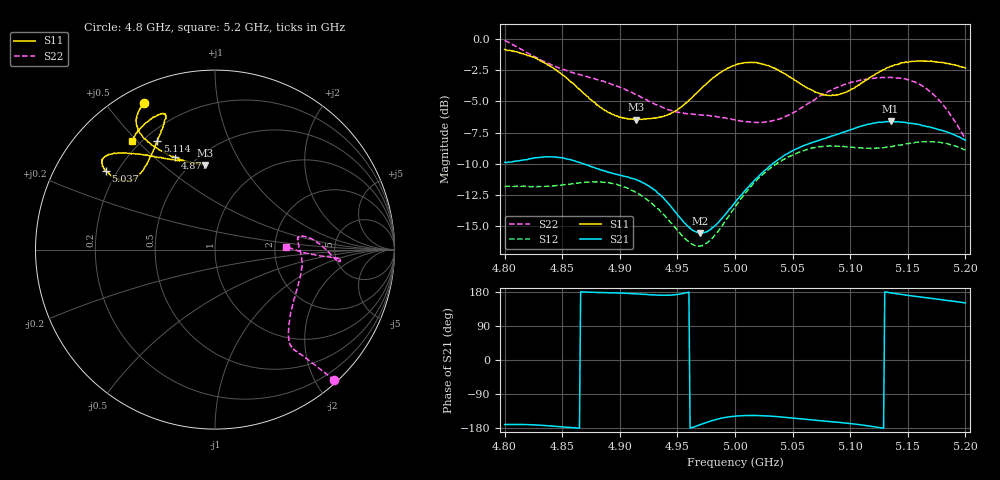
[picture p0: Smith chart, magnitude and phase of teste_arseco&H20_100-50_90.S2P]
! Network Analyzer HP8722D
! Hewlett-Packard
! Data name: Linha & Wilkinson
! Saver's name: Rodrigo Anjos
! Comments: Teste da utilização de aquisição
! continua pelo VNA HP8722D
! Time and date: 6/5/2025 13:19
!  Frequency  S11  S21  S12  S22
# HZ  S  MA R 50
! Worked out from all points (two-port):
!   401 points, 4.8 GHz to 5.2 GHz, reference 50 ohm
!   highest |S21| = -6.60 dB at 5.135 GHz (marker M1); lowest = -15.5 dB at 4.97 GHz (marker M2)
!   |S21| within 3 dB of the highest: 4.822 GHz to 4.853 GHz (31.15 MHz wide, 0.644 % of centre); 5.039 GHz to end of sweep
!   lowest |S11| = -6.5 dB at 4.914 GHz (marker M3), VSWR 2.81, Z = 29 + j35.4 ohm
!   |S11| at or under -10 dB: nowhere
!   |S22| runs from -8.0 to -0.1 dB; largest |S21 - S12| = 0.83
!   S11 on the Smith chart (normalised r, x): 4.8 GHz: 0.07, +0.63; 4.877 GHz: 0.39, +0.58; 5.037 GHz: 0.16, +0.32; 5.114 GHz: 0.25, +0.57; 5.2 GHz: 0.17, +0.48
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4.8e9  0.9064 115.8  0.3204 -170.5  0.2566 -86.2  0.9848 -47.5
4.834e9  0.804 122.4  0.3366 -172.7  0.2561 -77.0  0.8126 -49.7
4.847e9  0.7374 122.6  0.3352 -175.6  0.2594 -72.7  0.7652 -50.5
4.867e9  0.6149 117.8  0.3177 179.8  0.266 -67.4  0.7152 -51.6
4.877e9  0.5606 113.6  0.3064 178.6  0.2679 -66.3  0.6948 -51.8
4.897e9  0.4919 102.7  0.2868 176.9  0.262 -66.4  0.6482 -50.6
4.914e9  0.4753 96.6  0.2736 174.6  0.2426 -68.2  0.5993 -46.8
4.934e9  0.485 99.2  0.2393 171.1  0.2073 -69.4  0.5385 -37.5
4.95e9  0.5195 109.5  0.1979 173.0  0.1709 -65.6  0.5094 -27.1
4.97e9  0.6268 124.1  0.167 -170.4  0.1485 -46.6  0.4963 -14.5
4.983e9  0.7077 131.1  0.1791 -157.3  0.1648 -32.1  0.4897 -7.7
5e9  0.7847 137.3  0.2211 -148.4  0.2127 -21.5  0.4734 -0.3
5.019e9  0.8039 141.7  0.2774 -146.7  0.2718 -18.4  0.4615 5.8
5.037e9  0.7509 144.1  0.327 -149.5  0.3184 -18.3  0.4756 8.9
5.067e9  0.6232 141.9  0.3849 -158.1  0.3657 -20.6  0.5635 4.6
5.088e9  0.5976 133.0  0.414 -164.0  0.3718 -23.8  0.6374 -1.7
5.114e9  0.684 118.0  0.4528 -173.2  0.3648 -26.6  0.6881 -5.3
5.134e9  0.7717 111.3  0.4663 177.8  0.369 -28.8  0.7007 -4.8
5.135e9  0.7758 111.0  0.4675 177.3  0.3702 -28.8  0.7012 -4.7
5.162e9  0.8144 112.9  0.4492 165.8  0.3872 -35.4  0.6512 -3.8
5.18e9  0.8029 118.9  0.4299 158.9  0.3839 -41.0  0.5493 -2.9
5.2e9  0.7631 127.3  0.3927 150.7  0.3588 -46.3  0.3969 2.4
